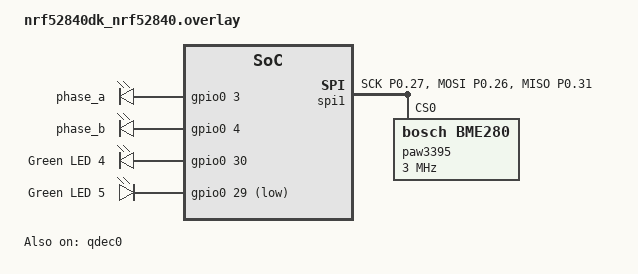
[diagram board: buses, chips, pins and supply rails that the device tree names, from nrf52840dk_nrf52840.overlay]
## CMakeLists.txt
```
#
# Copyright (c) 2019 Nordic Semiconductor ASA
#
# SPDX-License-Identifier: LicenseRef-Nordic-5-Clause
#
cmake_minimum_required(VERSION 3.20.0)

find_package(Zephyr REQUIRED HINTS $ENV{ZEPHYR_BASE})
project(peripheral_hids_mouse_buttons_only)

FILE(GLOB app_sources src/*.c)
# NORDIC SDK APP START
target_sources(app PRIVATE src/main.c src/radio_config.c)
target_sources(app PRIVATE src/sensor_func.c)
target_include_directories(app PRIVATE include)
# NORDIC SDK APP END

zephyr_library_include_directories(${ZEPHYR_BASE}/samples/bluetooth)
```

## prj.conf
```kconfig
#
# Copyright (c) 2019 Nordic Semiconductor ASA
#
# SPDX-License-Identifier: LicenseRef-Nordic-5-Clause
#
CONFIG_NCS_SAMPLES_DEFAULTS=y

CONFIG_BT=y
CONFIG_BT_DEBUG_LOG=y
CONFIG_BT_MAX_CONN=2
CONFIG_BT_MAX_PAIRED=2
CONFIG_BT_L2CAP_TX_BUF_COUNT=5
CONFIG_BT_PERIPHERAL=y
CONFIG_BT_DEVICE_NAME="Nordic_HIDS_mouse"
CONFIG_BT_DEVICE_APPEARANCE=962

CONFIG_BT_BAS=y
CONFIG_BT_HIDS=y
CONFIG_BT_HIDS_MAX_CLIENT_COUNT=2
CONFIG_BT_GATT_UUID16_POOL_SIZE=40
CONFIG_BT_GATT_CHRC_POOL_SIZE=20

CONFIG_BT_CONN_CTX=y

CONFIG_BT_DIS=y
CONFIG_BT_DIS_PNP=y
CONFIG_BT_DIS_MANUF="NordicSemiconductor"
CONFIG_BT_DIS_PNP_VID_SRC=2
CONFIG_BT_DIS_PNP_VID=0x1915
CONFIG_BT_DIS_PNP_PID=0xEEEE
CONFIG_BT_DIS_PNP_VER=0x0100

CONFIG_MAIN_STACK_SIZE=4069     
CONFIG_SYSTEM_WORKQUEUE_STACK_SIZE=4069

CONFIG_DK_LIBRARY=y

CONFIG_INPUT=y
CONFIG_PRINTK=y
CONFIG_SENSOR=y

CONFIG_SETTINGS=y


CONFIG_USB_DEVICE_STACK=y
CONFIG_USB_DEVICE_HID=y
CONFIG_USB_DEVICE_PRODUCT="Dhruv's Mouse"
CONFIG_USB_DEVICE_PID=0x0007
CONFIG_USB_DEVICE_INITIALIZE_AT_BOOT=n

CONFIG_USB_DRIVER_LOG_LEVEL_ERR=y
CONFIG_USB_DEVICE_LOG_LEVEL_ERR=y


CONFIG_CRYPTO=y
CONFIG_TINYCRYPT=y
CONFIG_TINYCRYPT_AES=y

CONFIG_SPI=y
```

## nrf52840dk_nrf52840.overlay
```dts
/ {
	aliases {
		qdec0 = &qdec0;
		qenca = &phase_a;
		qencb = &phase_b;
	};

	encoder-emulate {
		compatible = "gpio-leds";
		phase_a: phase_a {
			/* Arduino A0 */
			gpios = <&gpio0 3 GPIO_ACTIVE_HIGH>;
		};
		phase_b: phase_b {
			/* Arduino A1 */
			gpios = <&gpio0 4 GPIO_ACTIVE_HIGH>;
		};
	};

};

&pinctrl {
	qdec_pinctrl: qdec_pinctrl {
		group1 {
			psels = <NRF_PSEL(QDEC_A, 0, 31)>,   /* Ardiuno A5 */
				<NRF_PSEL(QDEC_B, 0, 30)>;   /* Arduino A4 */
		};
	};
};

&qdec0 {
	status = "okay";
	pinctrl-0 = <&qdec_pinctrl>;
	pinctrl-names = "default";
	steps = < 120 >;
	led-pre = < 500 >;
};

&spi1 {
    compatible = "nordic,nrf-spim";
    status = "okay";
    pinctrl-0 = <&spi1_default>;
    pinctrl-1 = <&spi1_sleep>;
    pinctrl-names = "default","sleep";
    // cs-gpios = <&gpio0 30 GPIO_ACTIVE_LOW>;
    paw3395: paw3395@0{
        compatible = "bosch,bme280";
        reg = <0>;
        spi-max-frequency = <3000000>;
    };
};
/* STEP 2.2 - Change the pin configuration */ 

&pinctrl {
    spi1_default: spi1_default {
        group1 {
            psels = <NRF_PSEL(SPIM_SCK, 0, 27)>,					 
                    <NRF_PSEL(SPIM_MOSI, 0, 26)>,
                    <NRF_PSEL(SPIM_MISO, 0, 31)>;
        };
    };
    spi1_sleep: spi1_sleep {
        group1 {
            psels = <NRF_PSEL(SPIM_SCK, 0, 27)>,
                    <NRF_PSEL(SPIM_MOSI, 0, 26)>,
                    <NRF_PSEL(SPIM_MISO, 0, 31)>;
            low-power-enable;
        };
    };
};
/{
    leds {
		compatible = "gpio-leds";
		ncs: ncs {
			gpios = <&gpio0 30 GPIO_ACTIVE_HIGH>;
			label = "Green LED 4";
		};
        nreset: nreset {
			gpios = <&gpio0 29 GPIO_ACTIVE_LOW>;
			label = "Green LED 5";
		};
    };

    /* These aliases are provided for compatibility with samples */
    aliases {
        ncs = &ncs;
        nreset = &nreset;
    };
};
```

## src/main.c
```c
/*
 * Copyright (c) 2018 Nordic Semiconductor ASA
 *
 * SPDX-License-Identifier: LicenseRef-Nordic-5-Clause
 */
#include <zephyr/input/input.h>
#include <zephyr/types.h>
#include <stddef.h>
#include <string.h>
#include <errno.h>
#include <zephyr/sys/printk.h>
#include <zephyr/sys/byteorder.h>
#include <zephyr/kernel.h>
#include <zephyr/drivers/gpio.h>
#include <soc.h>
#include <assert.h>
#include <zephyr/kernel.h>
#include <zephyr/settings/settings.h>

#include <zephyr/bluetooth/bluetooth.h>
#include <zephyr/bluetooth/hci.h>
#include <zephyr/bluetooth/conn.h>
#include <zephyr/bluetooth/uuid.h>
#include <zephyr/bluetooth/gatt.h>

#include <zephyr/bluetooth/services/bas.h>
#include <bluetooth/services/hids.h>
#include <zephyr/bluetooth/services/dis.h>
#include <dk_buttons_and_leds.h>

#include <zephyr/device.h>
#include <zephyr/sys/printk.h>

#include <zephyr/drivers/sensor.h>
// #include <zephyr/logging/log.h>

#define DEVICE_NAME CONFIG_BT_DEVICE_NAME
#define DEVICE_NAME_LEN (sizeof(DEVICE_NAME) - 1)

#define BASE_USB_HID_SPEC_VERSION 0x0101

/* Number of pixels by which the cursor is moved when a button is pushed. */
#define MOVEMENT_SPEED 5
/* Number of input reports in this application. */
#define INPUT_REPORT_COUNT 3
/* Length of Mouse Input Report containing button data. */
#define INPUT_REP_BUTTONS_LEN 3
/* Length of Mouse Input Report containing movement data. */
#define INPUT_REP_MOVEMENT_LEN 3
/* Length of Mouse Input Report containing media player data. */
#define INPUT_REP_MEDIA_PLAYER_LEN 1
/* Index of Mouse Input Report containing button data. */
#define INPUT_REP_BUTTONS_INDEX 0
/* Index of Mouse Input Report containing movement data. */
#define INPUT_REP_MOVEMENT_INDEX 1
/* Index of Mouse Input Report containing media player data. */
#define INPUT_REP_MPLAYER_INDEX 2
/* Id of reference to Mouse Input Report containing button data. */
#define INPUT_REP_REF_BUTTONS_ID 1
/* Id of reference to Mouse Input Report containing movement data. */
#define INPUT_REP_REF_MOVEMENT_ID 2
/* Id of reference to Mouse Input Report containing media player data. */
#define INPUT_REP_REF_MPLAYER_ID 3

/* HIDs queue size. */
#define HIDS_QUEUE_SIZE 10

// /* Key used to move cursor left */
// #define KEY_LEFT_MASK   DK_BTN1_MSK
// /* Key used to move cursor up */
// #define KEY_UP_MASK     DK_BTN2_MSK
// /* Key used to move cursor right */
// #define KEY_RIGHT_MASK  DK_BTN3_MSK
// /* Key used to move cursor down */
// #define KEY_DOWN_MASK   DK_BTN4_MSK

// /* Key used to accept or reject passkey value */
// #define KEY_PAIRING_ACCEPT DK_BTN1_MSK
// #define KEY_PAIRING_REJECT DK_BTN2_MSK

const struct device *const qdec_dev = DEVICE_DT_GET(DT_ALIAS(qdec0));
static uint8_t report[INPUT_REP_BUTTONS_LEN] = {0};
static bool report_updated = false;

/* HIDS instance. */
BT_HIDS_DEF(hids_obj,
			INPUT_REP_BUTTONS_LEN,
			INPUT_REP_MOVEMENT_LEN,
			INPUT_REP_MEDIA_PLAYER_LEN);

static struct k_work hids_work;

struct mouse_pos
{
	int16_t x_val;
	int16_t y_val;
};

/* Mouse movement queue. */
K_MSGQ_DEFINE(hids_queue,
			  sizeof(struct mouse_pos),
			  HIDS_QUEUE_SIZE,
			  4);

#if CONFIG_BT_DIRECTED_ADVERTISING
/* Bonded address queue. */
K_MSGQ_DEFINE(bonds_queue,
			  sizeof(bt_addr_le_t),
			  CONFIG_BT_MAX_PAIRED,
			  4);
#endif

static const struct bt_data ad[] = {
	BT_DATA_BYTES(BT_DATA_GAP_APPEARANCE,
				  (CONFIG_BT_DEVICE_APPEARANCE >> 0) & 0xff,
				  (CONFIG_BT_DEVICE_APPEARANCE >> 8) & 0xff),
	BT_DATA_BYTES(BT_DATA_FLAGS, (BT_LE_AD_GENERAL | BT_LE_AD_NO_BREDR)),
	BT_DATA_BYTES(BT_DATA_UUID16_ALL, BT_UUID_16_ENCODE(BT_UUID_HIDS_VAL),
				  BT_UUID_16_ENCODE(BT_UUID_BAS_VAL)),
};

static const struct bt_data sd[] = {
	BT_DATA(BT_DATA_NAME_COMPLETE, DEVICE_NAME, DEVICE_NAME_LEN),
};

static struct conn_mode
{
	struct bt_conn *conn;
	bool in_boot_mode;
} conn_mode[CONFIG_BT_HIDS_MAX_CLIENT_COUNT];

static struct k_work adv_work;

static struct k_work pairing_work;
struct pairing_data_mitm
{
	struct bt_conn *conn;
	unsigned int passkey;
};

K_MSGQ_DEFINE(mitm_queue,
			  sizeof(struct pairing_data_mitm),
			  CONFIG_BT_HIDS_MAX_CLIENT_COUNT,
			  4);

#if CONFIG_BT_DIRECTED_ADVERTISING
static void bond_find(const struct bt_bond_info *info, void *user_data)
{
	int err;

	/* Filter already connected peers. */
	for (size_t i = 0; i < CONFIG_BT_HIDS_MAX_CLIENT_COUNT; i++)
	{
		if (conn_mode[i].conn)
		{
			const bt_addr_le_t *dst =
				bt_conn_get_dst(conn_mode[i].conn);

			if (!bt_addr_le_cmp(&info->addr, dst))
			{
				return;
			}
		}
	}

	err = k_msgq_put(&bonds_queue, (void *)&info->addr, K_NO_WAIT);
	if (err)
	{
		printk("No space in the queue for the bond.\n");
	}
}
#endif

static void advertising_continue(void)
{
	struct bt_le_adv_param adv_param;

#if CONFIG_BT_DIRECTED_ADVERTISING
	bt_addr_le_t addr;

	if (!k_msgq_get(&bonds_queue, &addr, K_NO_WAIT))
	{
		char addr_buf[BT_ADDR_LE_STR_LEN];

		adv_param = *BT_LE_ADV_CONN_DIR(&addr);
		adv_param.options |= BT_LE_ADV_OPT_DIR_ADDR_RPA;

		int err = bt_le_adv_start(&adv_param, NULL, 0, NULL, 0);

		if (err)
		{
			printk("Directed advertising failed to start\n");
			return;
		}

		bt_addr_le_to_str(&addr, addr_buf, BT_ADDR_LE_STR_LEN);
		printk("Direct advertising to %s started\n", addr_buf);
	}
	else
#endif
	{
		int err;

		adv_param = *BT_LE_ADV_CONN;
		adv_param.options |= BT_LE_ADV_OPT_ONE_TIME;
		err = bt_le_adv_start(&adv_param, ad, ARRAY_SIZE(ad),
							  sd, ARRAY_SIZE(sd));
		if (err)
		{
			printk("Advertising failed to start (err %d)\n", err);
			return;
		}

		printk("Regular advertising started\n");
	}
}

static void advertising_start(void)
{
#if CONFIG_BT_DIRECTED_ADVERTISING
	k_msgq_purge(&bonds_queue);
	bt_foreach_bond(BT_ID_DEFAULT, bond_find, NULL);
#endif

	k_work_submit(&adv_work);
}

static void advertising_process(struct k_work *work)
{
	advertising_continue();
}

static void pairing_process(struct k_work *work)
{
	int err;
	struct pairing_data_mitm pairing_data;

	char addr[BT_ADDR_LE_STR_LEN];

	err = k_msgq_peek(&mitm_queue, &pairing_data);
	if (err)
	{
		return;
	}

	bt_addr_le_to_str(bt_conn_get_dst(pairing_data.conn),
					  addr, sizeof(addr));

	printk("Passkey for %s: %06u\n", addr, pairing_data.passkey);
	printk("Press Button 1 to confirm, Button 2 to reject.\n");
}

static void insert_conn_object(struct bt_conn *conn)
{
	for (size_t i = 0; i < CONFIG_BT_HIDS_MAX_CLIENT_COUNT; i++)
	{
		if (!conn_mode[i].conn)
		{
			conn_mode[i].conn = conn;
			conn_mode[i].in_boot_mode = false;

			return;
		}
	}

	printk("Connection object could not be inserted %p\n", conn);
}

static bool is_conn_slot_free(void)
{
	for (size_t i = 0; i < CONFIG_BT_HIDS_MAX_CLIENT_COUNT; i++)
	{
		if (!conn_mode[i].conn)
		{
			return true;
		}
	}

	return false;
}

static void connected(struct bt_conn *conn, uint8_t err)
{
	char addr[BT_ADDR_LE_STR_LEN];

	bt_addr_le_to_str(bt_conn_get_dst(conn), addr, sizeof(addr));

	if (err)
	{
		if (err == BT_HCI_ERR_ADV_TIMEOUT)
		{
			printk("Direct advertising to %s timed out\n", addr);
			k_work_submit(&adv_work);
		}
		else
		{
			printk("Failed to connect to %s (%u)\n", addr, err);
		}
		return;
	}

	printk("Connected %s\n", addr);

	err = bt_hids_connected(&hids_obj, conn);

	if (err)
	{
		printk("Failed to notify HID service about connection\n");
		return;
	}

	insert_conn_object(conn);

	if (is_conn_slot_free())
	{
		advertising_start();
	}
}

static void disconnected(struct bt_conn *conn, uint8_t reason)
{
	int err;
	char addr[BT_ADDR_LE_STR_LEN];

	bt_addr_le_to_str(bt_conn_get_dst(conn), addr, sizeof(addr));

	printk("Disconnected from %s (reason %u)\n", addr, reason);

	err = bt_hids_disconnected(&hids_obj, conn);

	if (err)
	{
		printk("Failed to notify HID service about disconnection\n");
	}

	for (size_t i = 0; i < CONFIG_BT_HIDS_MAX_CLIENT_COUNT; i++)
	{
		if (conn_mode[i].conn == conn)
		{
			conn_mode[i].conn = NULL;
			break;
		}
	}

	advertising_start();
}

#ifdef CONFIG_BT_HIDS_SECURITY_ENABLED
static void security_changed(struct bt_conn *conn, bt_security_t level,
							 enum bt_security_err err)
{
	char addr[BT_ADDR_LE_STR_LEN];

	bt_addr_le_to_str(bt_conn_get_dst(conn), addr, sizeof(addr));

	if (!err)
	{
		printk("Security changed: %s level %u\n", addr, level);
	}
	else
	{
		printk("Security failed: %s level %u err %d\n", addr, level,
			   err);
	}
}
#endif

BT_CONN_CB_DEFINE(conn_callbacks) = {
	.connected = connected,
	.disconnected = disconnected,
#ifdef CONFIG_BT_HIDS_SECURITY_ENABLED
	.security_changed = security_changed,
#endif
};

static void hids_pm_evt_handler(enum bt_hids_pm_evt evt,
								struct bt_conn *conn)
{
	char addr[BT_ADDR_LE_STR_LEN];
	size_t i;

	for (i = 0; i < CONFIG_BT_HIDS_MAX_CLIENT_COUNT; i++)
	{
		if (conn_mode[i].conn == conn)
		{
			break;
		}
	}

	if (i >= CONFIG_BT_HIDS_MAX_CLIENT_COUNT)
	{
		return;
	}

	bt_addr_le_to_str(bt_conn_get_dst(conn), addr, sizeof(addr));

	switch (evt)
	{
	case BT_HIDS_PM_EVT_BOOT_MODE_ENTERED:
		printk("Boot mode entered %s\n", addr);
		conn_mode[i].in_boot_mode = true;
		break;

	case BT_HIDS_PM_EVT_REPORT_MODE_ENTERED:
		printk("Report mode entered %s\n", addr);
		conn_mode[i].in_boot_mode = false;
		break;

	default:
		break;
	}
}

static void hid_init(void)
{
	int err;
	struct bt_hids_init_param hids_init_param = {0};
	struct bt_hids_inp_rep *hids_inp_rep;
	static const uint8_t mouse_movement_mask[DIV_ROUND_UP(INPUT_REP_BUTTONS_LEN, 8)] = {0};

	static const uint8_t report_map[] = {
		0x05, 0x01, /* Usage Page (Generic Desktop) */
		0x09, 0x02, /* Usage (Mouse) */

		0xA1, 0x01, /* Collection (Application) */

		/* Report ID 1: Mouse buttons + scroll/pan */
		0x85, 0x01,		  /* Report Id 1 */
		0x09, 0x01,		  /* Usage (Pointer) */
		0xA1, 0x00,		  /* Collection (Physical) */
		0x95, 0x05,		  /* Report Count (3) */
		0x75, 0x01,		  /* Report Size (1) */
		0x05, 0x09,		  /* Usage Page (Buttons) */
		0x19, 0x01,		  /* Usage Minimum (01) */
		0x29, 0x05,		  /* Usage Maximum (05) */
		0x15, 0x00,		  /* Logical Minimum (0) */
		0x25, 0x01,		  /* Logical Maximum (1) */
		0x81, 0x02,		  /* Input (Data, Variable, Absolute) */
		0x95, 0x01,		  /* Report Count (1) */
		0x75, 0x03,		  /* Report Size (3) */
		0x81, 0x01,		  /* Input (Constant) for padding */
		0x75, 0x08,		  /* Report Size (8) */
		0x95, 0x01,		  /* Report Count (1) */
		0x05, 0x01,		  /* Usage Page (Generic Desktop) */
		0x09, 0x38,		  /* Usage (Wheel) */
		0x15, 0x81,		  /* Logical Minimum (-127) */
		0x25, 0x7F,		  /* Logical Maximum (127) */
		0x81, 0x06,		  /* Input (Data, Variable, Relative) */
		0x05, 0x0C,		  /* Usage Page (Consumer) */
		0x0A, 0x38, 0x02, /* Usage (AC Pan) */
		0x95, 0x01,		  /* Report Count (1) */
		0x81, 0x06,		  /* Input (Data,Value,Relative,Bit Field) */
		0xC0,			  /* End Collection (Physical) */

		/* Report ID 2: Mouse motion */
		0x85, 0x02,		  /* Report Id 2 */
		0x09, 0x01,		  /* Usage (Pointer) */
		0xA1, 0x00,		  /* Collection (Physical) */
		0x75, 0x0C,		  /* Report Size (12) */
		0x95, 0x02,		  /* Report Count (2) */
		0x05, 0x01,		  /* Usage Page (Generic Desktop) */
		0x09, 0x30,		  /* Usage (X) */
		0x09, 0x31,		  /* Usage (Y) */
		0x16, 0x01, 0xF8, /* Logical maximum (2047) */
		0x26, 0xFF, 0x07, /* Logical minimum (-2047) */
		0x81, 0x06,		  /* Input (Data, Variable, Relative) */
		0xC0,			  /* End Collection (Physical) */
		0xC0,			  /* End Collection (Application) */

		/* Report ID 3: Advanced buttons */
		0x05, 0x0C, /* Usage Page (Consumer) */
		0x09, 0x01, /* Usage (Consumer Control) */
		0xA1, 0x01, /* Collection (Application) */
		0x85, 0x03, /* Report Id (3) */
		0x15, 0x00, /* Logical minimum (0) */
		0x25, 0x01, /* Logical maximum (1) */
		0x75, 0x01, /* Report Size (1) */
		0x95, 0x01, /* Report Count (1) */

		0x09, 0xCD,		  /* Usage (Play/Pause) */
		0x81, 0x06,		  /* Input (Data,Value,Relative,Bit Field) */
		0x0A, 0x83, 0x01, /* Usage (Consumer Control Configuration) */
		0x81, 0x06,		  /* Input (Data,Value,Relative,Bit Field) */
		0x09, 0xB5,		  /* Usage (Scan Next Track) */
		0x81, 0x06,		  /* Input (Data,Value,Relative,Bit Field) */
		0x09, 0xB6,		  /* Usage (Scan Previous Track) */
		0x81, 0x06,		  /* Input (Data,Value,Relative,Bit Field) */

		0x09, 0xEA,		  /* Usage (Volume Down) */
		0x81, 0x06,		  /* Input (Data,Value,Relative,Bit Field) */
		0x09, 0xE9,		  /* Usage (Volume Up) */
		0x81, 0x06,		  /* Input (Data,Value,Relative,Bit Field) */
		0x0A, 0x25, 0x02, /* Usage (AC Forward) */
		0x81, 0x06,		  /* Input (Data,Value,Relative,Bit Field) */
		0x0A, 0x24, 0x02, /* Usage (AC Back) */
		0x81, 0x06,		  /* Input (Data,Value,Relative,Bit Field) */
		0xC0			  /* End Collection */
	};

	hids_init_param.rep_map.data = report_map;
	hids_init_param.rep_map.size = sizeof(report_map);

	hids_init_param.info.bcd_hid = BASE_USB_HID_SPEC_VERSION;
	hids_init_param.info.b_country_code = 0x00;
	hids_init_param.info.flags = (BT_HIDS_REMOTE_WAKE |
								  BT_HIDS_NORMALLY_CONNECTABLE);

	hids_inp_rep = &hids_init_param.inp_rep_group_init.reports[0];
	hids_inp_rep->size = INPUT_REP_BUTTONS_LEN;
	hids_inp_rep->id = INPUT_REP_REF_BUTTONS_ID;
	hids_init_param.inp_rep_group_init.cnt++;

	hids_inp_rep++;
	hids_inp_rep->size = INPUT_REP_MOVEMENT_LEN;
	hids_inp_rep->id = INPUT_REP_REF_MOVEMENT_ID;
	hids_inp_rep->rep_mask = mouse_movement_mask;
	hids_init_param.inp_rep_group_init.cnt++;

	hids_inp_rep++;
	hids_inp_rep->size = INPUT_REP_MEDIA_PLAYER_LEN;
	hids_inp_rep->id = INPUT_REP_REF_MPLAYER_ID;
	hids_init_param.inp_rep_group_init.cnt++;

	hids_init_param.is_mouse = true;
	hids_init_param.pm_evt_handler = hids_pm_evt_handler;

	err = bt_hids_init(&hids_obj, &hids_init_param);
	__ASSERT(err == 0, "HIDS initialization failed\n");
}

static void num_comp_reply(bool accept) {
    struct pairing_data_mitm pairing_data;
    struct bt_conn *conn;

    if (k_msgq_get(&mitm_queue, &pairing_data, K_NO_WAIT) != 0) {
        return;
    }

    conn = pairing_data.conn;

    if (accept) {
        bt_conn_auth_passkey_confirm(conn);
        printk("Numeric Match, conn %p\n", conn);
    } else {
        bt_conn_auth_cancel(conn);
        printk("Numeric Reject, conn %p\n", conn);
    }

    bt_conn_unref(pairing_data.conn);

    if (k_msgq_num_used_get(&mitm_queue)) {
        k_work_submit(&pairing_work);
    }
}

static void input_cb(struct input_event *evt)
{
	
	for (size_t i = 0; i < CONFIG_BT_HIDS_MAX_CLIENT_COUNT; i++)
	{
		if (!conn_mode[i].conn)
		{
			continue;
		}

		if (conn_mode[i].in_boot_mode)
		{}
		else
		{
			// uint8_t x_buff[2];
			// uint8_t y_buff[2];
			//uint8_t report[INPUT_REP_BUTTONS_LEN] = {0};

			// int16_t x = MAX(MIN(x_delta, 0x07ff), -0x07ff);
			// int16_t y = MAX(MIN(y_delta, 0x07ff), -0x07ff);

			/* Convert to little-endian. */
			// sys_put_le16(x, x_buff);
			// sys_put_le16(y, y_buff);

			/* Encode report. */
			// BUILD_ASSERT(sizeof(buffer) == 3,
					 //"Only 2 axis, 12-bit each, are supported");

					 // buffer[0] = x_delta;
					 //  buffer[0] = 0x01;
					 // buffer[1] = y_delta;
					 //  buffer[2] =0;
					 //  buffer[1] = (y_buff[0] << 4) | (x_buff[1] & 0x0f);
					 //  buffer[2] = (y_buff[1] << 4) | (y_buff[0] >> 4);

					 //  bt_hids_inp_rep_send(&hids_obj, conn_mode[i].conn,
					 // 					  INPUT_REP_BUTTONS_INDEX,
					 // 					  buffer, sizeof(buffer), NULL);

			switch (evt->code)
			{
			case INPUT_KEY_0:
				WRITE_BIT(report[0], 0, evt->value);
				report_updated = true;
				break;
			case INPUT_KEY_1:
				WRITE_BIT(report[0], 1, evt->value);
				report_updated = true;
				break;
			case INPUT_KEY_2:
				num_comp_reply(true); // Confirm pairing
				break;
			case INPUT_KEY_3:
				num_comp_reply(false); // Reject pairing
				break;
			default:
				//LOG_INF("Unrecognized input code %u value %d", evt->code, evt->value);
				return;
			}

			
		}
	}
}

static void qdec_fetch_and_handle(void)
{
    struct sensor_value val;
    int rc;

    rc = sensor_sample_fetch(qdec_dev);
    if (rc != 0)
    {
        printk("Failed to fetch QDEC sample (%d)\n", rc);
        return;
    }

    rc = sensor_channel_get(qdec_dev, 35, &val);
    if (rc != 0)
    {
        printk("Failed to get QDEC data (%d)\n", rc);
        return;
    }

    if (val.val1 > 0)
    {
        report[1] = 5;
        report_updated = true;
    }
    else if (val.val1 < 0)
    {
        report[1] = -5;
        report_updated = true;
    }
}

INPUT_CALLBACK_DEFINE(NULL, input_cb);



#if defined(CONFIG_BT_HIDS_SECURITY_ENABLED)
static void auth_passkey_display(struct bt_conn *conn, unsigned int passkey)
{
	char addr[BT_ADDR_LE_STR_LEN];

	bt_addr_le_to_str(bt_conn_get_dst(conn), addr, sizeof(addr));

	printk("Passkey for %s: %06u\n", addr, passkey);
}

static void auth_passkey_confirm(struct bt_conn *conn, unsigned int passkey)
{
	int err;

	struct pairing_data_mitm pairing_data;

	pairing_data.conn = bt_conn_ref(conn);
	pairing_data.passkey = passkey;

	err = k_msgq_put(&mitm_queue, &pairing_data, K_NO_WAIT);
	if (err)
	{
		printk("Pairing queue is full. Purge previous data.\n");
	}

	/* In the case of multiple pairing requests, trigger
	 * pairing confirmation which needed user interaction only
	 * once to avoid display information about all devices at
	 * the same time. Passkey confirmation for next devices will
	 * be proccess from queue after handling the earlier ones.
	 */
	if (k_msgq_num_used_get(&mitm_queue) == 1)
	{
		k_work_submit(&pairing_work);
	}
}

static void auth_cancel(struct bt_conn *conn)
{
	char addr[BT_ADDR_LE_STR_LEN];

	bt_addr_le_to_str(bt_conn_get_dst(conn), addr, sizeof(addr));

	printk("Pairing cancelled: %s\n", addr);
}

static void pairing_complete(struct bt_conn *conn, bool bonded)
{
	char addr[BT_ADDR_LE_STR_LEN];

	bt_addr_le_to_str(bt_conn_get_dst(conn), addr, sizeof(addr));

	printk("Pairing completed: %s, bonded: %d\n", addr, bonded);
}

static void pairing_failed(struct bt_conn *conn, enum bt_security_err reason)
{
	char addr[BT_ADDR_LE_STR_LEN];
	struct pairing_data_mitm pairing_data;

	if (k_msgq_peek(&mitm_queue, &pairing_data) != 0)
	{
		return;
	}

	if (pairing_data.conn == conn)
	{
		bt_conn_unref(pairing_data.conn);
		k_msgq_get(&mitm_queue, &pairing_data, K_NO_WAIT);
	}

	bt_addr_le_to_str(bt_conn_get_dst(conn), addr, sizeof(addr));

	printk("Pairing failed conn: %s, reason %d\n", addr, reason);
}

static struct bt_conn_auth_cb conn_auth_callbacks = {
	.passkey_display = auth_passkey_display,
	.passkey_confirm = auth_passkey_confirm,
	.cancel = auth_cancel,
};

static struct bt_conn_auth_info_cb conn_auth_info_callbacks = {
	.pairing_complete = pairing_complete,
	.pairing_failed = pairing_failed};
#else
static struct bt_conn_auth_cb conn_auth_callbacks;
static struct bt_conn_auth_info_cb conn_auth_info_callbacks;
#endif /* defined(CONFIG_BT_HIDS_SECURITY_ENABLED) */

static void bas_notify(void)
{
	uint8_t battery_level = bt_bas_get_battery_level();

	//battery_level--;

	if (!battery_level)
	{
		battery_level = 100U;
	}

	bt_bas_set_battery_level(battery_level);
}

int main(void)
{
	int err;

	printk("Starting Bluetooth Peripheral HIDS mouse example\n");

	if (IS_ENABLED(CONFIG_BT_HIDS_SECURITY_ENABLED))
	{
		err = bt_conn_auth_cb_register(&conn_auth_callbacks);
		if (err)
		{
			printk("Failed to register authorization callbacks.\n");
			return 0;
		}

		err = bt_conn_auth_info_cb_register(&conn_auth_info_callbacks);
		if (err)
		{
			printk("Failed to register authorization info callbacks.\n");
			return 0;
		}
	}

	/* DIS initialized at system boot with SYS_INIT macro. */
	hid_init();

	err = bt_enable(NULL);
	if (err)
	{
		printk("Bluetooth init failed (err %d)\n", err);
		return 0;
	}

	printk("Bluetooth initialized\n");

	//k_work_init(&hids_work, mouse_handler);
	k_work_init(&adv_work, advertising_process);
	if (IS_ENABLED(CONFIG_BT_HIDS_SECURITY_ENABLED))
	{
		k_work_init(&pairing_work, pairing_process);
	}

	if (IS_ENABLED(CONFIG_SETTINGS))
	{
		settings_load();
	}

	advertising_start();

	if (!device_is_ready(qdec_dev))
    {
        printk("Qdec device is not ready\n");
        return 0;
    }


	//configure_buttons();

	while (1)
	{
		qdec_fetch_and_handle();
		if (report_updated)
			{
				for (size_t i = 0; i < CONFIG_BT_HIDS_MAX_CLIENT_COUNT; i++)
				{
					if (conn_mode[i].conn)
					{
						bt_hids_inp_rep_send(&hids_obj, conn_mode[i].conn,
											INPUT_REP_BUTTONS_INDEX,
											report, sizeof(report), NULL);
					}
				}
				report[0]=0;
				report[1]=0;
				report[2]=0;
				report_updated = false;
			}
		k_msleep(10);
		/* Battery level simulation */
		//bas_notify();
	}
}
```

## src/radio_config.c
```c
#include <hal/nrf_radio.h>
#include <tinycrypt/aes.h>
#include <tinycrypt/constants.h>

// Example AES-128 key (16 bytes)
static uint8_t aes_key[TC_AES_KEY_SIZE] = { 
    0x2b, 0x7e, 0x15, 0x16, 0x28, 0xae, 0xd2, 0xa6, 
    0xab, 0xf7, 0x7f, 0x67, 0x1f, 0xc7, 0x7e, 0x55 
};

// Example IV (16 bytes)
static uint8_t aes_iv[TC_AES_BLOCK_SIZE] = { 
    0x00, 0x01, 0x02, 0x03, 0x04, 0x05, 0x06, 0x07, 
    0x08, 0x09, 0x0a, 0x0b, 0x0c, 0x0d, 0x0e, 0x0f 
};

void radio_configure()
{
    NRF_RADIO->POWER = 1;
    NRF_RADIO->EVENTS_READY = 0;
    NRF_RADIO->EVENTS_END = 0;
    NRF_RADIO->EVENTS_DISABLED = 0;

    NRF_RADIO->MODE = RADIO_MODE_MODE_Ble_1Mbit;
    NRF_RADIO->FREQUENCY = 40;

    NRF_RADIO->PCNF0 = (8 << RADIO_PCNF0_LFLEN_Pos) | (0 << RADIO_PCNF0_S0LEN_Pos) | (0 << RADIO_PCNF0_S1LEN_Pos);
    NRF_RADIO->PCNF1 = (32 << RADIO_PCNF1_MAXLEN_Pos) | (0 << RADIO_PCNF1_STATLEN_Pos) | (3 << RADIO_PCNF1_BALEN_Pos) | (RADIO_PCNF1_ENDIAN_Big << RADIO_PCNF1_ENDIAN_Pos) | (RADIO_PCNF1_WHITEEN_Disabled << RADIO_PCNF1_WHITEEN_Pos);

    NRF_RADIO->BASE0 = 0x89ABCDEF;
    NRF_RADIO->PREFIX0 = 0xC3C2C1C0;
    NRF_RADIO->TXADDRESS = 0;
    NRF_RADIO->RXADDRESSES = 1;

    NRF_RADIO->TXPOWER = RADIO_TXPOWER_TXPOWER_0dBm;

    NRF_RADIO->CRCCNF = RADIO_CRCCNF_LEN_Three;
    NRF_RADIO->CRCINIT = 0xFFFFFF;
    NRF_RADIO->CRCPOLY = 0x11021;

    NRF_RADIO->SHORTS = RADIO_SHORTS_READY_START_Msk | RADIO_SHORTS_END_DISABLE_Msk;
}

void radio_send_packet(uint32_t *packet)
{
    struct tc_aes_key_sched_struct sched;
    uint8_t encrypted_packet[32];

    tc_aes128_set_encrypt_key(&sched, aes_key);
    tc_aes_encrypt(encrypted_packet, (const uint8_t *)packet, &sched);

    NRF_RADIO->PACKETPTR = (uint32_t)encrypted_packet;
    NRF_RADIO->EVENTS_END = 0;
    NRF_RADIO->TASKS_TXEN = 1;
    while (NRF_RADIO->EVENTS_END == 0);
    NRF_RADIO->EVENTS_DISABLED = 0;
    NRF_RADIO->TASKS_DISABLE = 1;
    while (NRF_RADIO->EVENTS_DISABLED == 0);
}

void radio_receive_packet(uint32_t *packet)
{
    struct tc_aes_key_sched_struct sched;
    uint8_t encrypted_packet[32];

    NRF_RADIO->PACKETPTR = (uint32_t)encrypted_packet;
    NRF_RADIO->EVENTS_END = 0;
    NRF_RADIO->TASKS_RXEN = 1;
    while (NRF_RADIO->EVENTS_END == 0);
    NRF_RADIO->EVENTS_DISABLED = 0;
    NRF_RADIO->TASKS_DISABLE = 1;
    while (NRF_RADIO->EVENTS_DISABLED == 0);

    tc_aes128_set_decrypt_key(&sched, aes_key);
    tc_aes_decrypt((uint8_t *)packet, encrypted_packet, &sched);
}
```

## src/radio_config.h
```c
#ifndef RADIO_CONFIG_H__
#define RADIO_CONFIG_H__

#include <stdint.h>

void radio_configure(void);

#endif // RADIO_CONFIG_H__
```
